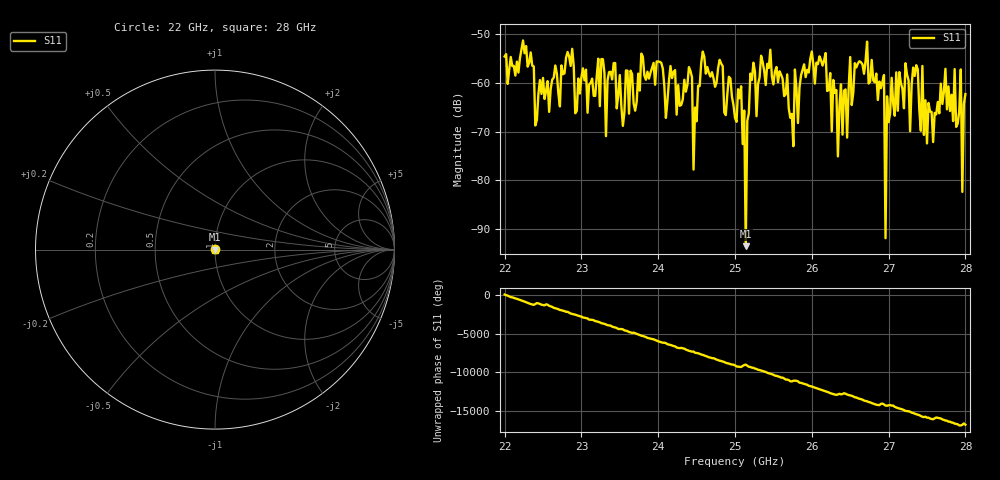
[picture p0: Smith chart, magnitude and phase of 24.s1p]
#  HZ  S  RI  R  50.00
! Rohde & Schwarz ZVA40 4Ports - Version 3.90 - 1145.1110k42 SN: 100403
! Date: 2023-10-04 06:58:32
! Measurement: S12
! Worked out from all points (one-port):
!   301 points, 22 GHz to 28 GHz, reference 50 ohm
!   lowest |S11| = -93.6 dB at 25.14 GHz (marker M1), VSWR 1.00, Z = 50 + j0.000241 ohm
!   |S11| at or under -10 dB: start of sweep to end of sweep
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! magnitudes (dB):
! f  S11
! 22 GHz  -54.6
! 22.76 GHz  -58.2
! 23.32 GHz  -70.9
! 23.5 GHz  -58.4
! 24.26 GHz  -60.4
! 24.44 GHz  -58.8
! 24.46 GHz  -77.8
! 24.58 GHz  -53.5
! 25 GHz  -67.2
! 25.08 GHz  -60.7
! 25.14 GHz  -93.6
! 25.2 GHz  -58.1
! 25.34 GHz  -54.4
! 25.76 GHz  -73.0
! 25.78 GHz  -57.2
! 26.18 GHz  -53.8
! 26.34 GHz  -75.1
! 26.5 GHz  -54.7
! 26.94 GHz  -58.4
! 26.96 GHz  -91.9
! 26.98 GHz  -62.7
! 27.26 GHz  -59.4
! 27.42 GHz  -69.8
! 27.44 GHz  -56.5
! 27.5 GHz  -72.4
! 27.94 GHz  -57.2
! 27.96 GHz  -82.4
! 28 GHz  -62.3
